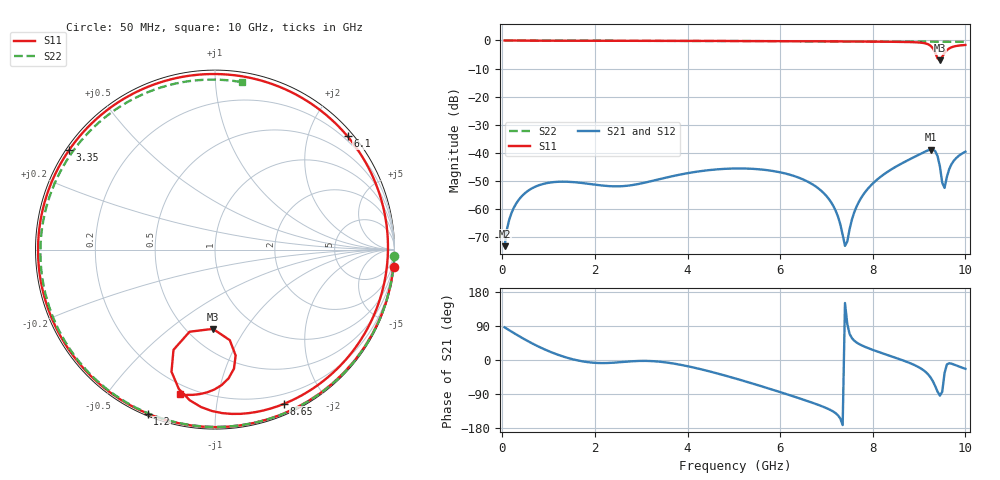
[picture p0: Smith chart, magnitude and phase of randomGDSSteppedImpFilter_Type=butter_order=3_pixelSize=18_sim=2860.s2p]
! freq	dB(S11)	phase(S11)	dB(S12)	phase(S12)
!  dB(S21)	phase(S21)	dB(S22)	phase(S22)
!S-par simulation data
#  GHz  S  DB  R 50
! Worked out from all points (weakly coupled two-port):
!   200 points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, 50 MHz to 10 GHz, reference 50 ohm
!   highest |S21| = -38.83 dB at 9.25 GHz (marker M1); lowest = -73.2 dB at 50 MHz (marker M2)
!   lowest |S11| = -7.1 dB at 9.45 GHz (marker M3), VSWR 2.58, Z = 33 - j36.3 ohm
!   |S11| at or under -10 dB: nowhere
!   |S22| runs from -0.5 to 0.0 dB; largest |S21 - S12| = 0
!   S11 on the Smith chart (normalised r, x): 50 MHz: 0, -20; 1.2 GHz: 0.01, -0.67; 3.35 GHz: 0.01, +0.31; 6.1 GHz: 0.12, +2.70; 8.65 GHz: 0.10, -1.54; 10 GHz: 0.15, -0.77
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0.05  -0.00 -5.7  -73.23 86.2  -73.23 86.2  -0.00 -2.1
0.15  -0.02 -16.8  -63.78 78.5  -63.78 78.5  -0.01 -6.1
0.4  -0.06 -43.6  -55.82 60.2  -55.82 60.2  -0.02 -16.2
0.75  -0.09 -77.2  -51.79 37.3  -51.79 37.3  -0.04 -30.1
1.2  -0.11 -112.4  -50.31 13.9  -50.31 13.9  -0.06 -47.5
1.75  -0.11 -145.6  -50.80 -3.9  -50.80 -3.9  -0.08 -67.6
2.5  -0.12 179.2  -51.93 -6.2  -51.93 -6.2  -0.11 -92.7
3.35  -0.14 145.6  -49.56 -3.9  -49.56 -3.9  -0.13 -118.2
3.4  -0.14 143.7  -49.36 -4.5  -49.36 -4.5  -0.14 -119.6
5.05  -0.20 81.9  -45.58 -49.3  -45.58 -49.3  -0.20 -162.0
6.1  -0.25 40.5  -47.31 -88.6  -47.31 -88.6  -0.26 173.5
6.7  -0.29 16.1  -51.24 -113.0  -51.24 -113.0  -0.29 159.8
7.15  -0.33 -2.5  -58.97 -136.3  -58.97 -136.3  -0.32 149.5
7.4  -0.35 -12.8  -73.13 150.4  -73.13 150.4  -0.33 143.8
7.75  -0.39 -27.4  -56.02 39.3  -56.02 39.3  -0.35 135.7
8.35  -0.47 -52.6  -46.43 11.9  -46.43 11.9  -0.39 121.6
8.65  -0.52 -65.9  -43.56 -0.9  -43.56 -0.9  -0.41 114.4
9.25  -1.91 -104.5  -38.83 -46.4  -38.83 -46.4  -0.45 99.8
9.45  -7.09 -91.5  -44.88 -94.0  -44.88 -94.0  -0.46 94.8
9.55  -4.42 -79.0  -52.49 -34.3  -52.49 -34.3  -0.47 92.3
9.7  -2.43 -87.2  -44.05 -9.6  -44.05 -9.6  -0.48 88.6
10  -1.61 -103.7  -39.60 -23.3  -39.60 -23.3  -0.49 81.0
